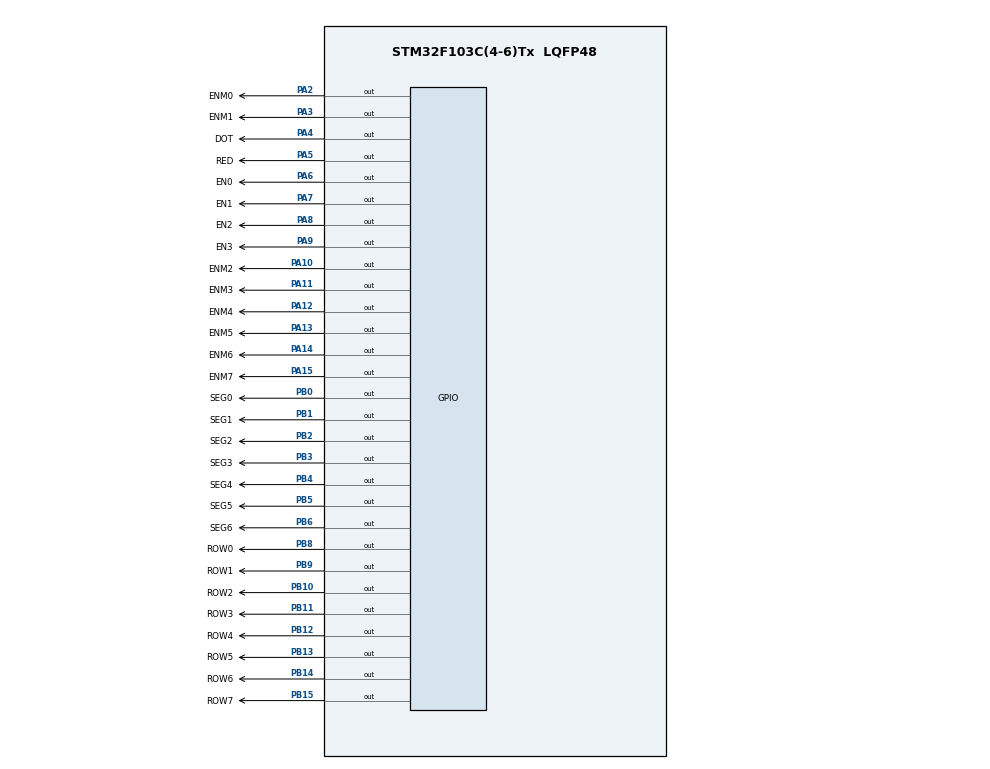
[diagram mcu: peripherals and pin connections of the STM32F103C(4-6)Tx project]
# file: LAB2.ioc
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Mcu.Family=STM32F1
Mcu.Name=STM32F103C(4-6)Tx
Mcu.Package=LQFP48
NVIC.PriorityGroup=NVIC_PRIORITYGROUP_4
NVIC.TIM2_IRQn=true\:0\:0\:false\:false\:true\:true\:true\:true
PA10.GPIO_Label=ENM2
PA10.Signal=GPIO_Output
PA11.GPIO_Label=ENM3
PA11.Signal=GPIO_Output
PA12.GPIO_Label=ENM4
PA12.Signal=GPIO_Output
PA13.GPIO_Label=ENM5
PA13.Signal=GPIO_Output
PA14.GPIO_Label=ENM6
PA14.Signal=GPIO_Output
PA15.GPIO_Label=ENM7
PA15.Signal=GPIO_Output
PA2.GPIO_Label=ENM0
PA2.Signal=GPIO_Output
PA3.GPIO_Label=ENM1
PA3.Signal=GPIO_Output
PA4.GPIO_Label=DOT
PA4.Signal=GPIO_Output
PA5.GPIO_Label=RED
PA5.Signal=GPIO_Output
PA6.GPIO_Label=EN0
PA6.Signal=GPIO_Output
PA7.GPIO_Label=EN1
PA7.Signal=GPIO_Output
PA8.GPIO_Label=EN2
PA8.Signal=GPIO_Output
PA9.GPIO_Label=EN3
PA9.Signal=GPIO_Output
PB0.GPIO_Label=SEG0
PB0.Signal=GPIO_Output
PB1.GPIO_Label=SEG1
PB1.Signal=GPIO_Output
PB10.GPIO_Label=ROW2
PB10.Signal=GPIO_Output
PB11.GPIO_Label=ROW3
PB11.Signal=GPIO_Output
PB12.GPIO_Label=ROW4
PB12.Signal=GPIO_Output
PB13.GPIO_Label=ROW5
PB13.Signal=GPIO_Output
PB14.GPIO_Label=ROW6
PB14.Signal=GPIO_Output
PB15.GPIO_Label=ROW7
PB15.Signal=GPIO_Output
PB2.GPIO_Label=SEG2
PB2.Signal=GPIO_Output
PB3.GPIO_Label=SEG3
PB3.Signal=GPIO_Output
PB4.GPIO_Label=SEG4
PB4.Signal=GPIO_Output
PB5.GPIO_Label=SEG5
PB5.Signal=GPIO_Output
PB6.GPIO_Label=SEG6
PB6.Signal=GPIO_Output
PB8.GPIO_Label=ROW0
PB8.Signal=GPIO_Output
PB9.GPIO_Label=ROW1
PB9.Signal=GPIO_Output
ProjectManager.HeapSize=0x200
ProjectManager.StackSize=0x400
ProjectManager.TargetToolchain=STM32CubeIDE
RCC.APB1Freq_Value=8000000
RCC.APB2Freq_Value=8000000
TIM2.Period=9
TIM2.Prescaler=7999
VP_TIM2_VS_ClockSourceINT.Mode=Internal
board=custom

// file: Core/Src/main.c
/* USER CODE BEGIN Header */
/**
  ******************************************************************************
  * @file           : main.c
  * @brief          : Main program body
  ******************************************************************************
  * @attention
  *
  * Copyright (c) 2023 STMicroelectronics.
  * All rights reserved.
  *
  * This software is licensed under terms that can be found in the LICENSE file
  * in the root directory of this software component.
  * If no LICENSE file comes with this software, it is provided AS-IS.
  *
  ******************************************************************************
  */
/* USER CODE END Header */
#include "main.h"
#include "matrix_led.h"
#include "software_timer.h"
#include "display7Seg.h"

TIM_HandleTypeDef htim2;

void SystemClock_Config(void);
static void MX_GPIO_Init(void);
static void MX_TIM2_Init(void);

/* USER CODE BEGIN 0 */
const int MAX_LED = 4;
int hour = 15, minute = 8, second = 50;
int Led_buffer[4] = {1, 5, 0, 8};
int led_index = 0;
int counter = 20;
void update7SEG(int index) {
	switch(index) {
	case 0:
		HAL_GPIO_WritePin(GPIOA, EN0_Pin, RESET);
		HAL_GPIO_WritePin(GPIOA, EN1_Pin|EN2_Pin|EN3_Pin, SET);
		display7Seg(Led_buffer[index]);
		break;
	case 1:
		HAL_GPIO_WritePin(GPIOA, EN1_Pin, RESET);
		HAL_GPIO_WritePin(GPIOA, EN0_Pin|EN2_Pin|EN3_Pin, SET);
		display7Seg(Led_buffer[index]);
		break;
	case 2:
		HAL_GPIO_WritePin(GPIOA, EN2_Pin, RESET);
		HAL_GPIO_WritePin(GPIOA, EN0_Pin|EN1_Pin|EN3_Pin, SET);
		display7Seg(Led_buffer[index]);
		break;
	case 3:
		HAL_GPIO_WritePin(GPIOA, EN3_Pin, RESET);
		HAL_GPIO_WritePin(GPIOA, EN0_Pin|EN1_Pin|EN2_Pin, SET);
		display7Seg(Led_buffer[index]);
		break;
	default:
		break;
	}
}
void updateClockBuffer() {
	// hour and minute
	/*EN0, EN1: display HOUR
	 *EN2, EN3: display MINUTE
	 * */
	// display HOUR
	Led_buffer[0] = hour / 10;
	Led_buffer[1] = hour % 10;
	// display MINUTE
	Led_buffer[2] = minute / 10;
	Led_buffer[3] = minute % 10;
	if (led_index > 3) {
		update7SEG(0);
		led_index = 0;
	} else {
		update7SEG(led_index);
	}
	led_index++;
	HAL_GPIO_TogglePin(GPIOA, DOT_Pin);
}

/* USER CODE END 0 */

int main(void)
{

  /* MCU Configuration--------------------------------------------------------*/

  /* Reset of all peripherals, Initializes the Flash interface and the Systick. */
  HAL_Init();

  /* Configure the system clock */
  SystemClock_Config();

  /* Initialize all configured peripherals */
  MX_GPIO_Init();
  MX_TIM2_Init();
  /* USER CODE BEGIN 2 */
  HAL_TIM_Base_Start_IT(&htim2);
  /* USER CODE END 2 */

  /* Infinite loop */
  /* USER CODE BEGIN WHILE */
  int index = 0;
  while (1)
  {

    /* USER CODE END WHILE */
	  displayMatrixLed(matrix_buffer);
  }
}

void SystemClock_Config(void)
{
  RCC_OscInitTypeDef RCC_OscInitStruct = {0};
  RCC_ClkInitTypeDef RCC_ClkInitStruct = {0};

  /** Initializes the RCC Oscillators according to the specified parameters
  * in the RCC_OscInitTypeDef structure.
  */
  RCC_OscInitStruct.OscillatorType = RCC_OSCILLATORTYPE_HSI;
  RCC_OscInitStruct.HSIState = RCC_HSI_ON;
  RCC_OscInitStruct.HSICalibrationValue = RCC_HSICALIBRATION_DEFAULT;
  RCC_OscInitStruct.PLL.PLLState = RCC_PLL_NONE;
  if (HAL_RCC_OscConfig(&RCC_OscInitStruct) != HAL_OK)
  {
    Error_Handler();
  }

  /** Initializes the CPU, AHB and APB buses clocks
  */
  RCC_ClkInitStruct.ClockType = RCC_CLOCKTYPE_HCLK|RCC_CLOCKTYPE_SYSCLK
                              |RCC_CLOCKTYPE_PCLK1|RCC_CLOCKTYPE_PCLK2;
  RCC_ClkInitStruct.SYSCLKSource = RCC_SYSCLKSOURCE_HSI;
  RCC_ClkInitStruct.AHBCLKDivider = RCC_SYSCLK_DIV1;
  RCC_ClkInitStruct.APB1CLKDivider = RCC_HCLK_DIV1;
  RCC_ClkInitStruct.APB2CLKDivider = RCC_HCLK_DIV1;

  if (HAL_RCC_ClockConfig(&RCC_ClkInitStruct, FLASH_LATENCY_0) != HAL_OK)
  {
    Error_Handler();
  }
}

static void MX_TIM2_Init(void)
{

  TIM_ClockConfigTypeDef sClockSourceConfig = {0};
  TIM_MasterConfigTypeDef sMasterConfig = {0};

  htim2.Instance = TIM2;
  htim2.Init.Prescaler = 7999;
  htim2.Init.CounterMode = TIM_COUNTERMODE_UP;
  htim2.Init.Period = 9;
  htim2.Init.ClockDivision = TIM_CLOCKDIVISION_DIV1;
  htim2.Init.AutoReloadPreload = TIM_AUTORELOAD_PRELOAD_DISABLE;
  if (HAL_TIM_Base_Init(&htim2) != HAL_OK)
  {
    Error_Handler();
  }
  sClockSourceConfig.ClockSource = TIM_CLOCKSOURCE_INTERNAL;
  if (HAL_TIM_ConfigClockSource(&htim2, &sClockSourceConfig) != HAL_OK)
  {
    Error_Handler();
  }
  sMasterConfig.MasterOutputTrigger = TIM_TRGO_RESET;
  sMasterConfig.MasterSlaveMode = TIM_MASTERSLAVEMODE_DISABLE;
  if (HAL_TIMEx_MasterConfigSynchronization(&htim2, &sMasterConfig) != HAL_OK)
  {
    Error_Handler();
  }

}

static void MX_GPIO_Init(void)
{
  GPIO_InitTypeDef GPIO_InitStruct = {0};

  /* GPIO Ports Clock Enable */
  __HAL_RCC_GPIOA_CLK_ENABLE();
  __HAL_RCC_GPIOB_CLK_ENABLE();

  /*Configure GPIO pin Output Level */
  HAL_GPIO_WritePin(GPIOA, ENM0_Pin|ENM1_Pin|DOT_Pin|RED_Pin
                          |EN0_Pin|EN1_Pin|EN2_Pin|EN3_Pin
                          |ENM2_Pin|ENM3_Pin|ENM4_Pin|ENM5_Pin
                          |ENM6_Pin|ENM7_Pin, GPIO_PIN_RESET);

  /*Configure GPIO pin Output Level */
  HAL_GPIO_WritePin(GPIOB, SEG0_Pin|SEG1_Pin|SEG2_Pin|ROW2_Pin
                          |ROW3_Pin|ROW4_Pin|ROW5_Pin|ROW6_Pin
                          |ROW7_Pin|SEG3_Pin|SEG4_Pin|SEG5_Pin
                          |SEG6_Pin|ROW0_Pin|ROW1_Pin, GPIO_PIN_RESET);

  /*Configure GPIO pins : ENM0_Pin ENM1_Pin DOT_Pin RED_Pin
                           EN0_Pin EN1_Pin EN2_Pin EN3_Pin
                           ENM2_Pin ENM3_Pin ENM4_Pin ENM5_Pin
                           ENM6_Pin ENM7_Pin */
  GPIO_InitStruct.Pin = ENM0_Pin|ENM1_Pin|DOT_Pin|RED_Pin
                          |EN0_Pin|EN1_Pin|EN2_Pin|EN3_Pin
                          |ENM2_Pin|ENM3_Pin|ENM4_Pin|ENM5_Pin
                          |ENM6_Pin|ENM7_Pin;
  GPIO_InitStruct.Mode = GPIO_MODE_OUTPUT_PP;
  GPIO_InitStruct.Pull = GPIO_NOPULL;
  GPIO_InitStruct.Speed = GPIO_SPEED_FREQ_LOW;
  HAL_GPIO_Init(GPIOA, &GPIO_InitStruct);

  /*Configure GPIO pins : SEG0_Pin SEG1_Pin SEG2_Pin ROW2_Pin
                           ROW3_Pin ROW4_Pin ROW5_Pin ROW6_Pin
                           ROW7_Pin SEG3_Pin SEG4_Pin SEG5_Pin
                           SEG6_Pin ROW0_Pin ROW1_Pin */
  GPIO_InitStruct.Pin = SEG0_Pin|SEG1_Pin|SEG2_Pin|ROW2_Pin
                          |ROW3_Pin|ROW4_Pin|ROW5_Pin|ROW6_Pin
                          |ROW7_Pin|SEG3_Pin|SEG4_Pin|SEG5_Pin
                          |SEG6_Pin|ROW0_Pin|ROW1_Pin;
  GPIO_InitStruct.Mode = GPIO_MODE_OUTPUT_PP;
  GPIO_InitStruct.Pull = GPIO_NOPULL;
  GPIO_InitStruct.Speed = GPIO_SPEED_FREQ_LOW;
  HAL_GPIO_Init(GPIOB, &GPIO_InitStruct);

}

/* USER CODE BEGIN 4 */
//int cycleTimeCounter = 100;
void HAL_TIM_PeriodElapsedCallback(TIM_HandleTypeDef *htim) {
	timer1Run();
}
/* USER CODE END 4 */

void Error_Handler(void)
{
  __disable_irq();
  while (1)
  {
  }
}
